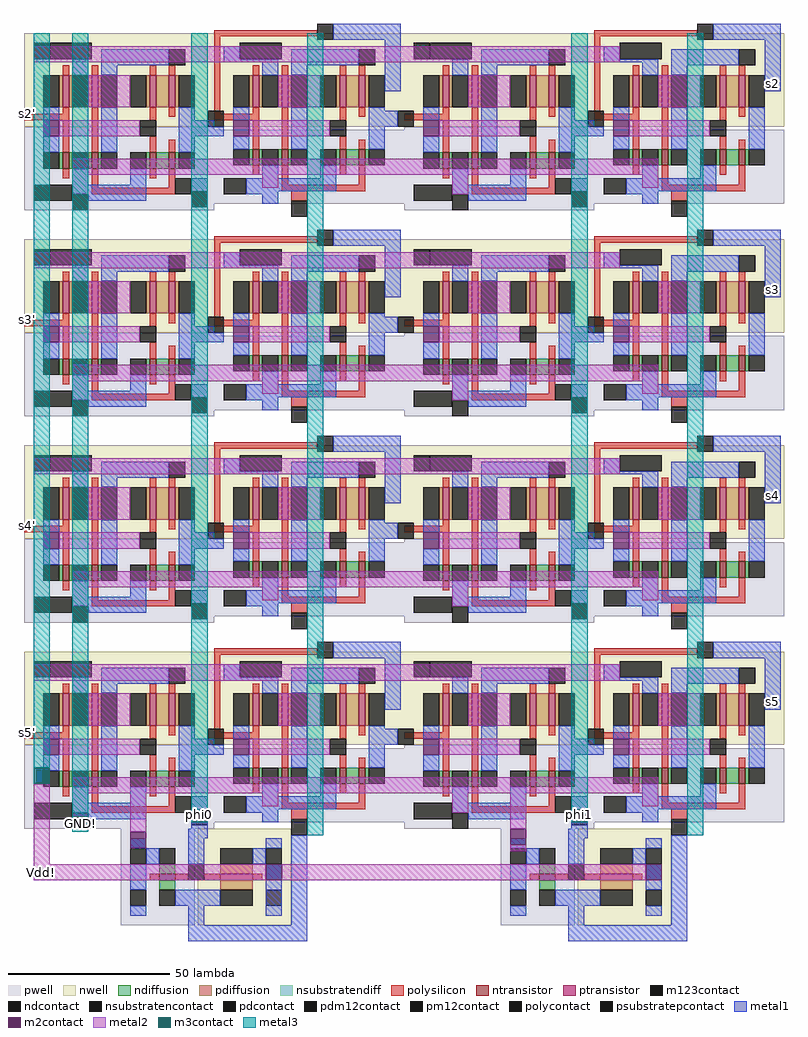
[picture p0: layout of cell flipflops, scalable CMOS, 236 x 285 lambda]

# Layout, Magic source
magic
tech scmos
<< polysilicon >>
rect 4 -95 6 -93
rect 4 -159 6 -157
rect 4 -223 6 -221
rect 4 -287 6 -285
<< polycontact >>
rect 61 -98 66 -93
rect 120 -98 125 -93
rect 179 -98 184 -93
rect 61 -162 66 -157
rect 120 -162 125 -157
rect 179 -162 184 -157
rect 61 -226 66 -221
rect 120 -226 125 -221
rect 179 -226 184 -221
rect 61 -290 66 -285
rect 120 -290 125 -285
rect 179 -290 184 -285
<< metal1 >>
rect 234 -87 239 -82
rect 116 -98 120 -93
rect 61 -101 66 -98
rect 179 -101 184 -98
rect 234 -151 239 -146
rect 116 -162 120 -157
rect 61 -165 66 -162
rect 179 -165 184 -162
rect 234 -215 239 -210
rect 116 -226 120 -221
rect 61 -229 66 -226
rect 179 -229 184 -226
rect 234 -279 239 -274
rect 116 -290 120 -285
rect 61 -293 66 -290
rect 179 -293 184 -290
rect 56 -319 61 -314
rect 174 -316 179 -314
rect 79 -340 84 -332
rect 87 -346 92 -318
rect 175 -319 179 -316
rect 205 -346 210 -318
rect 55 -351 92 -346
rect 173 -351 210 -346
<< m2contact >>
rect 37 -322 42 -317
rect 79 -332 84 -327
rect 155 -321 160 -316
rect 197 -332 202 -327
<< metal2 >>
rect 7 -78 189 -73
rect 19 -113 201 -108
rect 19 -119 24 -113
rect 78 -117 83 -113
rect 137 -119 142 -113
rect 196 -117 201 -113
rect 7 -142 189 -137
rect 19 -177 201 -172
rect 19 -183 24 -177
rect 78 -181 83 -177
rect 137 -183 142 -177
rect 196 -181 201 -177
rect 7 -206 189 -201
rect 19 -241 201 -236
rect 19 -247 24 -241
rect 78 -245 83 -241
rect 137 -247 142 -241
rect 196 -245 201 -241
rect 7 -270 189 -265
rect 7 -327 12 -302
rect 19 -305 201 -300
rect 19 -312 24 -305
rect 37 -317 42 -305
rect 78 -309 83 -305
rect 137 -311 142 -305
rect 155 -316 160 -305
rect 196 -309 201 -305
rect 155 -323 160 -321
rect 7 -332 79 -327
rect 84 -332 197 -327
<< m3contact >>
rect 7 -302 12 -297
<< metal3 >>
rect 7 -297 12 -69
rect 19 -317 24 -69
rect 56 -314 61 -69
rect 92 -318 97 -69
rect 174 -314 179 -69
rect 210 -318 215 -69
use latch_one  latch_one_11
transform 1 0 15 0 1 -249
box -11 -67 48 -12
use staticizer_one  staticizer_one_11
transform 1 0 9 0 1 -257
box 54 -61 113 -1
use latch_one  latch_one_10
transform 1 0 133 0 1 -249
box -11 -67 48 -12
use staticizer_one  staticizer_one_10
transform 1 0 127 0 1 -257
box 54 -61 113 -1
use latch_one  latch_one_9
transform 1 0 15 0 1 -185
box -11 -67 48 -12
use staticizer_one  staticizer_one_9
transform 1 0 9 0 1 -193
box 54 -61 113 -1
use latch_one  latch_one_8
transform 1 0 133 0 1 -185
box -11 -67 48 -12
use staticizer_one  staticizer_one_8
transform 1 0 127 0 1 -193
box 54 -61 113 -1
use latch_one  latch_one_7
transform 1 0 15 0 1 -121
box -11 -67 48 -12
use staticizer_one  staticizer_one_7
transform 1 0 9 0 1 -129
box 54 -61 113 -1
use latch_one  latch_one_6
transform 1 0 133 0 1 -121
box -11 -67 48 -12
use staticizer_one  staticizer_one_6
transform 1 0 127 0 1 -129
box 54 -61 113 -1
use latch_one  latch_one_5
transform 1 0 15 0 1 -57
box -11 -67 48 -12
use staticizer_one  staticizer_one_5
transform 1 0 9 0 1 -65
box 54 -61 113 -1
use latch_one  latch_one_4
transform 1 0 133 0 1 -57
box -11 -67 48 -12
use staticizer_one  staticizer_one_4
transform 1 0 127 0 1 -65
box 54 -61 113 -1
use inv2  inv2_1
transform 0 1 165 -1 0 -326
box -10 -13 20 40
use inv2  inv2_0
transform 0 1 47 -1 0 -326
box -10 -13 20 40
<< labels >>
rlabel polysilicon 4 -95 6 -93 3 s2'
rlabel polysilicon 4 -159 6 -157 3 s3'
rlabel polysilicon 4 -223 6 -221 3 s4'
rlabel polysilicon 4 -287 6 -285 3 s5'
rlabel metal3 56 -314 61 -309 1 phi0
rlabel metal3 174 -314 179 -309 1 phi1
rlabel metal1 234 -87 239 -82 7 s2
rlabel metal1 234 -151 239 -146 7 s3
rlabel metal1 234 -215 239 -210 7 s4
rlabel metal1 234 -279 239 -274 7 s5
rlabel metal3 19 -317 24 -312 1 GND!
rlabel metal2 7 -332 12 -327 3 Vdd!
<< end >>

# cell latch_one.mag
magic
tech scmos
<< nwell >>
rect -11 -41 48 -12
<< pwell >>
rect -11 -67 48 -41
<< ntransistor >>
rect 1 -54 3 -49
rect 10 -54 12 -49
rect 28 -54 30 -49
rect 34 -54 36 -49
<< ptransistor >>
rect 1 -35 3 -25
rect 10 -35 12 -25
rect 28 -35 30 -25
rect 34 -35 36 -25
<< ndiffusion >>
rect 0 -54 1 -49
rect 3 -54 4 -49
rect 9 -54 10 -49
rect 12 -54 13 -49
rect 27 -54 28 -49
rect 30 -54 34 -49
rect 36 -54 37 -49
<< pdiffusion >>
rect 0 -35 1 -25
rect 3 -35 4 -25
rect 9 -35 10 -25
rect 12 -35 13 -25
rect 27 -35 28 -25
rect 30 -35 34 -25
rect 36 -35 37 -25
<< ndcontact >>
rect -5 -54 0 -49
rect 4 -54 9 -49
rect 13 -54 18 -49
rect 22 -54 27 -49
rect 37 -54 42 -49
<< pdcontact >>
rect -5 -35 0 -25
rect 13 -35 18 -25
rect 37 -35 42 -25
<< nsubstratendiff >>
rect -8 -20 -3 -15
<< psubstratepcontact >>
rect -8 -64 4 -59
<< nsubstratencontact >>
rect -3 -20 10 -15
<< polysilicon >>
rect 1 -25 3 -22
rect 10 -25 12 -22
rect 28 -25 30 -22
rect 34 -25 36 -22
rect 1 -37 3 -35
rect -11 -39 3 -37
rect 1 -49 3 -39
rect 10 -49 12 -35
rect 28 -39 30 -35
rect 34 -38 36 -35
rect 28 -49 30 -44
rect 34 -49 36 -45
rect 1 -57 3 -54
rect 10 -60 12 -54
rect 28 -57 30 -54
rect 34 -60 36 -54
rect 10 -62 36 -60
<< polycontact >>
rect 34 -22 39 -17
rect 36 -62 41 -57
<< metal1 >>
rect 4 -25 9 -20
rect 13 -22 34 -17
rect 13 -25 18 -22
rect -5 -39 0 -35
rect -5 -49 0 -44
rect 13 -49 18 -35
rect 37 -39 42 -35
rect 37 -44 48 -39
rect 37 -49 42 -44
rect 4 -59 9 -54
rect 22 -59 27 -54
rect 4 -62 27 -59
rect 41 -61 46 -57
rect 9 -64 27 -62
<< m2contact >>
rect -5 -44 0 -39
<< pm12contact >>
rect 25 -44 30 -39
<< pdm12contact >>
rect 4 -35 9 -25
rect 22 -35 27 -25
<< metal2 >>
rect 9 -35 22 -25
rect 0 -44 25 -39
<< m123contact >>
rect -8 -20 -3 -15
rect 4 -67 9 -62
rect 41 -66 46 -61
<< labels >>
rlabel polysilicon 11 -24 11 -24 1 c
rlabel metal1 40 -42 40 -42 1 out
rlabel nsubstratencontact 2 -18 2 -18 1 Vdd!
rlabel polysilicon 2 -38 2 -38 1 in
rlabel psubstratepcontact 2 -63 2 -63 1 GND!
<< end >>

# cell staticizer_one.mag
magic
tech scmos
<< nwell >>
rect 54 -33 113 -4
<< pwell >>
rect 54 -57 113 -34
<< ntransistor >>
rect 66 -45 68 -40
rect 75 -45 77 -40
rect 93 -45 95 -40
rect 99 -45 101 -40
<< ptransistor >>
rect 66 -27 68 -17
rect 75 -27 77 -17
rect 93 -27 95 -17
rect 99 -27 101 -17
<< ndiffusion >>
rect 65 -45 66 -40
rect 68 -45 69 -40
rect 74 -45 75 -40
rect 77 -45 78 -40
rect 92 -45 93 -40
rect 95 -45 99 -40
rect 101 -45 102 -40
<< pdiffusion >>
rect 65 -27 66 -17
rect 68 -27 69 -17
rect 74 -27 75 -17
rect 77 -27 78 -17
rect 92 -27 93 -17
rect 95 -27 99 -17
rect 101 -27 102 -17
<< ndcontact >>
rect 60 -45 65 -40
rect 69 -45 74 -40
rect 78 -45 83 -40
rect 87 -45 92 -40
rect 102 -45 107 -40
<< pdcontact >>
rect 60 -27 65 -17
rect 78 -27 83 -17
rect 102 -27 107 -17
<< psubstratepcontact >>
rect 57 -54 64 -49
<< nsubstratencontact >>
rect 62 -12 75 -7
<< polysilicon >>
rect 54 -5 86 -3
rect 54 -29 56 -5
rect 66 -17 68 -14
rect 75 -17 77 -14
rect 93 -17 95 -14
rect 99 -17 101 -14
rect 66 -29 68 -27
rect 54 -31 68 -29
rect 66 -40 68 -31
rect 75 -40 77 -27
rect 93 -31 95 -27
rect 99 -30 101 -27
rect 93 -40 95 -36
rect 99 -40 101 -37
rect 66 -48 68 -45
rect 75 -51 77 -45
rect 93 -48 95 -45
rect 99 -51 101 -45
rect 75 -53 101 -51
rect 78 -56 83 -53
<< polycontact >>
rect 86 -6 91 -1
rect 99 -14 104 -9
rect 78 -61 83 -56
<< metal1 >>
rect 91 -6 112 -1
rect 57 -12 62 -8
rect 57 -13 74 -12
rect 69 -17 74 -13
rect 78 -14 99 -9
rect 78 -17 83 -14
rect 107 -22 112 -6
rect 60 -31 65 -27
rect 60 -40 65 -36
rect 78 -40 83 -27
rect 102 -40 107 -27
rect 69 -49 74 -45
rect 87 -49 92 -45
rect 64 -53 92 -49
rect 64 -54 74 -53
rect 69 -57 74 -54
<< m2contact >>
rect 60 -36 65 -31
<< pm12contact >>
rect 90 -36 95 -31
<< pdm12contact >>
rect 69 -27 74 -17
rect 87 -27 92 -17
<< metal2 >>
rect 74 -27 87 -17
rect 65 -36 90 -31
<< labels >>
rlabel polysilicon 67 -29 67 -29 1 in
rlabel metal1 105 -34 105 -34 1 out
rlabel polysilicon 76 -16 76 -16 1 c
rlabel nsubstratencontact 67 -10 67 -10 1 Vdd!
<< end >>

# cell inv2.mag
magic
tech scmos
<< nwell >>
rect -10 11 20 40
<< pwell >>
rect -10 -13 20 10
<< ntransistor >>
rect 4 -1 6 4
<< ptransistor >>
rect 4 18 6 28
<< ndiffusion >>
rect 1 -1 4 4
rect 6 -1 9 4
<< pdiffusion >>
rect 1 18 4 28
rect 6 18 9 28
<< ndcontact >>
rect -4 -1 1 4
rect 9 -1 14 4
<< pdcontact >>
rect -4 18 1 28
rect 9 18 14 28
<< psubstratepcontact >>
rect -4 -10 1 -5
rect 9 -10 14 -5
<< nsubstratencontact >>
rect -4 32 1 37
rect 9 32 14 37
<< polysilicon >>
rect 4 28 6 31
rect 4 13 6 18
rect 4 4 6 8
rect 4 -4 6 -1
<< polycontact >>
rect 1 8 6 13
<< metal1 >>
rect -7 32 -4 37
rect 1 32 9 37
rect 14 32 17 37
rect -4 28 1 32
rect 9 13 14 18
rect -10 8 1 13
rect 9 8 20 13
rect 9 4 14 8
rect -4 -5 1 -1
rect -7 -10 -4 -5
rect 1 -10 9 -5
rect 14 -10 17 -5
<< labels >>
rlabel metal1 -5 -7 -5 -7 3 GND!
rlabel metal1 -5 34 -5 34 3 Vdd!
<< end >>
